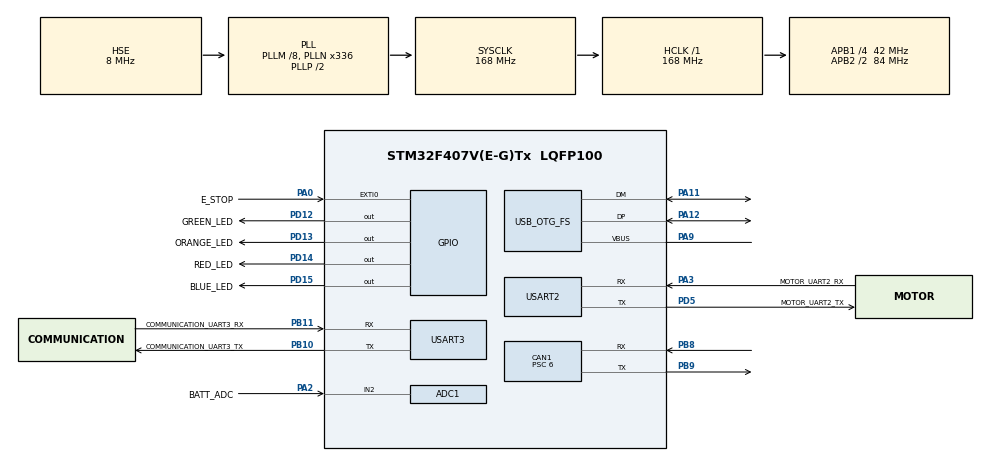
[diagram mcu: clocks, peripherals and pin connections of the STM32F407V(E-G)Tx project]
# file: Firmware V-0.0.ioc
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ADC1.Channel-0\#ChannelRegularConversion=ADC_CHANNEL_2
ADC1.ExternalTrigConv=ADC_EXTERNALTRIGCONV_T2_TRGO
ADC1.NbrOfConversionFlag=1
ADC1.Rank-0\#ChannelRegularConversion=1
ADC1.SamplingTime-0\#ChannelRegularConversion=ADC_SAMPLETIME_3CYCLES
ADC1.master=1
CAN1.BS1=CAN_BS1_11TQ
CAN1.BS2=CAN_BS2_2TQ
CAN1.CalculateBaudRate=500000
CAN1.CalculateTimeBit=2000
CAN1.CalculateTimeQuantum=142.85714285714286
CAN1.Prescaler=6
Dma.Request0=USART2_RX
Dma.USART2_RX.0.Direction=DMA_PERIPH_TO_MEMORY
Dma.USART2_RX.0.FIFOMode=DMA_FIFOMODE_DISABLE
Dma.USART2_RX.0.Instance=DMA1_Stream5
Dma.USART2_RX.0.MemDataAlignment=DMA_MDATAALIGN_BYTE
Dma.USART2_RX.0.MemInc=DMA_MINC_ENABLE
Dma.USART2_RX.0.Mode=DMA_NORMAL
Dma.USART2_RX.0.PeriphDataAlignment=DMA_PDATAALIGN_BYTE
Dma.USART2_RX.0.PeriphInc=DMA_PINC_DISABLE
Dma.USART2_RX.0.Priority=DMA_PRIORITY_LOW
Mcu.Family=STM32F4
Mcu.Name=STM32F407V(E-G)Tx
Mcu.Package=LQFP100
NVIC.ADC_IRQn=true\:0\:0\:false\:false\:true\:true\:true\:true
NVIC.CAN1_RX0_IRQn=true\:0\:0\:false\:false\:true\:true\:true\:true
NVIC.CAN1_RX1_IRQn=true\:0\:0\:false\:false\:true\:true\:true\:true
NVIC.CAN1_SCE_IRQn=true\:0\:0\:false\:false\:true\:true\:true\:true
NVIC.CAN1_TX_IRQn=true\:0\:0\:false\:false\:true\:true\:true\:true
NVIC.DMA1_Stream5_IRQn=true\:0\:0\:false\:false\:true\:false\:true\:true
NVIC.EXTI0_IRQn=true\:0\:0\:false\:false\:true\:true\:true\:true
NVIC.OTG_FS_IRQn=true\:0\:0\:false\:false\:true\:false\:true\:true
NVIC.PriorityGroup=NVIC_PRIORITYGROUP_0
NVIC.TIM1_BRK_TIM9_IRQn=true\:0\:0\:false\:false\:true\:true\:true\:true
NVIC.USART2_IRQn=true\:0\:0\:false\:false\:true\:true\:true\:true
PA0-WKUP.GPIO_Label=E_STOP
PA0-WKUP.Signal=GPXTI0
PA11.Mode=Device_Only
PA11.Signal=USB_OTG_FS_DM
PA12.Mode=Device_Only
PA12.Signal=USB_OTG_FS_DP
PA13.Mode=Trace_Synchro_1bit_SW
PA13.Signal=SYS_JTMS-SWDIO
PA14.Mode=Trace_Synchro_1bit_SW
PA14.Signal=SYS_JTCK-SWCLK
PA2.GPIO_Label=BATT_ADC
PA2.Signal=ADCx_IN2
PA3.GPIO_Label=MOTOR_UART2_RX
PA3.Mode=Asynchronous
PA3.Signal=USART2_RX
PA9.Mode=Activate_VBUS
PA9.Signal=USB_OTG_FS_VBUS
PB10.GPIO_Label=COMMUNICATION_UART3_TX
PB10.Mode=Asynchronous
PB10.Signal=USART3_TX
PB11.GPIO_Label=COMMUNICATION_UART3_RX
PB11.Mode=Asynchronous
PB11.Signal=USART3_RX
PB3.Signal=SYS_JTDO-SWO
PB8.Mode=CAN_Activate
PB8.Signal=CAN1_RX
PB9.Mode=CAN_Activate
PB9.Signal=CAN1_TX
PD12.GPIO_Label=GREEN_LED
PD12.Signal=GPIO_Output
PD13.GPIO_Label=ORANGE_LED
PD13.Signal=GPIO_Output
PD14.GPIO_Label=RED_LED
PD14.Signal=GPIO_Output
PD15.GPIO_Label=BLUE_LED
PD15.Signal=GPIO_Output
PD5.GPIO_Label=MOTOR_UART2_TX
PD5.Mode=Asynchronous
PD5.Signal=USART2_TX
PE2.Mode=Trace_Synchro_1bit_SW
PE2.Signal=SYS_TRACECLK
PE3.Mode=Trace_Synchro_1bit_SW
PE3.Signal=SYS_TRACED0
PH0-OSC_IN.Mode=HSE-External-Oscillator
PH0-OSC_IN.Signal=RCC_OSC_IN
PH1-OSC_OUT.Mode=HSE-External-Oscillator
PH1-OSC_OUT.Signal=RCC_OSC_OUT
ProjectManager.HeapSize=0x200
ProjectManager.StackSize=0x400
ProjectManager.TargetToolchain=STM32CubeIDE
RCC.48MHZClocksFreq_Value=48000000
RCC.AHBFreq_Value=168000000
RCC.APB1CLKDivider=RCC_HCLK_DIV4
RCC.APB1Freq_Value=42000000
RCC.APB1TimFreq_Value=84000000
RCC.APB2CLKDivider=RCC_HCLK_DIV2
RCC.APB2Freq_Value=84000000
RCC.APB2TimFreq_Value=168000000
RCC.CortexFreq_Value=168000000
RCC.HCLKFreq_Value=168000000
RCC.HSE_VALUE=8000000
RCC.HSI_VALUE=16000000
RCC.LSE_VALUE=32768
RCC.PLLM=8
RCC.PLLN=336
RCC.PLLQ=7
RCC.SYSCLKFreq_VALUE=168000000
RCC.SYSCLKSource=RCC_SYSCLKSOURCE_PLLCLK
RCC.VCOOutputFreq_Value=336000000
SH.ADCx_IN2.0=ADC1_IN2,IN2
TIM2.Period=4999
TIM2.Prescaler=8399
TIM2.TIM_MasterOutputTrigger=TIM_TRGO_UPDATE
TIM3.Prescaler=83
TIM9.Period=9999
TIM9.Prescaler=167
USART2.VirtualMode=VM_ASYNC
USART3.VirtualMode=VM_ASYNC
USB_DEVICE.CLASS_NAME_FS=CDC
USB_DEVICE.MANUFACTURER_STRING-CDC_FS=ROMDYNAMIC
USB_DEVICE.PID_CDC_FS=12345
USB_DEVICE.PRODUCT_STRING_CDC_FS=ROBOTCOM
USB_DEVICE.VID-CDC_FS=12345
USB_DEVICE.VirtualMode-CDC_FS=Cdc
USB_DEVICE.VirtualModeFS=Cdc_FS
USB_OTG_FS.VirtualMode=Device_Only
VP_TIM2_VS_ClockSourceINT.Mode=Internal
VP_TIM3_VS_ClockSourceINT.Mode=Internal
VP_TIM9_VS_ClockSourceINT.Mode=Internal
VP_USB_DEVICE_VS_USB_DEVICE_CDC_FS.Mode=CDC_FS
board=STM32F407G-DISC1

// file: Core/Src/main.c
/* USER CODE BEGIN Header */
/*
 * rom_communication.h
 *
 *  Created on: Aug 3, 2023
 *      Author: Pyae Soan Aung
 */
/* Macros --------------------------------------------------------------------*/
/* ဒီထဲက COMMUNICATION နည်း လမ်း ၃ခုထဲက တစ်ခု ကို ရွေးပါ။ */
//#define COMMUNICATION_METHOD_WIFI
//#define COMMUNICATION_METHOD_UART
#define COMMUNICATION_METHOD_USB

/* ဒီထဲက Motor Driver COMMUNICATION နည်း လမ်း ၂ ခုထဲက တစ်ခု ကို ရွေးပါ။ */
//#define MOTOR_DRIVER_UART
#define MOTOR_DRIVER_CAN

/* CAN အတွက် */
//#define USE_PDO 1
#define CAN_DEBUG 1

/* Serial Wire Viewer အတွက် */
#define ROM_SWV_DEBUG

/* USER CODE END Header */
#include "main.h"
#include "adc.h"
#include "can.h"
#include "dma.h"
#include "tim.h"
#include "usart.h"
#include "usb_device.h"
#include "gpio.h"

/* USER CODE BEGIN Includes */
#include "usbd_cdc_if.h"
#include <string.h>
#include "ROM_VARIABLES.h"
#include "ROM_LSDB4830_CAFC.h"

#ifdef COMMUNICATION_METHOD_USB
	#include "usbd_cdc_if.h"
#elif defined(COMMUNICATION_METHOD_UART)
	#define UART_DEBUG
	#define UART_RX_BUFFER_SIZE 42
	uint8_t uart3_rx_data[UART_RX_BUFFER_SIZE];
	uint8_t _data[UART_RX_BUFFER_SIZE];
#endif

#include "rom_communication.h"
struct ROM_COMMUNICATION receive_data = {0};
struct ROM_COMMUNICATION transmit_data = {0};
struct e1234567_status e_leds_status = {0};
/* USER CODE END Includes */

/* USER CODE BEGIN PM */
// 	CAN ERROR = BLUE LED
/* USER CODE END PM */

/* USER CODE BEGIN PV */

/* 10Hz, 50Hz, 100Hz သုံးမျိုး သုံးလို့ ရပါတယ်။ */
int main_loop_Hz = 10; // 10Hz

/* USER CODE END PV */

void SystemClock_Config(void);
/* USER CODE BEGIN PFP */
#ifdef ROM_SWV_DEBUG
	int _write(int file, char *ptr, int len)
	{
	  (void)file;
	  int DataIdx;

	  for (DataIdx = 0; DataIdx < len; DataIdx++)
	  {
		ITM_SendChar(*ptr++);
	  }
	  return len;
	}
	int fputc(int ch, FILE *f) {
		ITM_SendChar(ch);
		return ch;
	}
#endif

void estop(void){};
void led(void){};
void volt_ampere(void){};
void structure_update(void)
{
	// data သည် CAN BUS က လာမယ်။
	//transmit_data.right_actual_rpm = right_actual_rpm;
	//transmit_data.left_actual_rpm  = left_actual_rpm;
	//transmit_data.right_actual_rpm = right_desire_rpm;
	//transmit_data.left_actual_rpm  = left_desire_rpm;
	transmit_data.right_actual_rpm = 0;
	transmit_data.left_actual_rpm  = 0;

	// data သည် CAN BUS က လာမယ်။
	transmit_data.right_encoder_count = right_actual_position;
	transmit_data.left_encoder_count = left_actual_position;
	transmit_data.right_encoder_count = 999;
	transmit_data.left_encoder_count = 0;

	/* No Need to update desire rpms,
	because it is decoded and implemented in USB_RECEIVE_CALLBACK() */
	//transmit_data.right_desire_rpm = right_desire_rpm;
	//transmit_data.left_desire_rpm  = left_desire_rpm;

	transmit_data.free = 0;

//	uint8_t lower_byte =
//	(uint8_t)(e_leds_status.estop_status << 7 ) +
//	(uint8_t)(e_leds_status.led1_status  << 6 ) +
//	(uint8_t)(e_leds_status.led1_status  << 5 ) +
//	(uint8_t)(e_leds_status.led1_status  << 4 ) +
//	(uint8_t)(e_leds_status.led1_status  << 3 ) +
//	(uint8_t)(e_leds_status.led1_status  << 2 ) +
//	(uint8_t)(e_leds_status.led1_status  << 1 ) +
//	(uint8_t)(e_leds_status.led1_status  << 0 );

	transmit_data.e1234567 = 0; //lower_byte;

	transmit_data.volt = 0;		// 1B
	transmit_data.ampere = -3.1415;  // 4B
};
void ROM_variables_init(void)
{
	speed_limit = 50;

	/*for(int x = 0; x<100 ; x++)
	{
		usb_tx_buf[x] = 0;
		//usb_rx_buf[x] = 0;
	} */

	right_actual_rpm = 0;
	left_actual_rpm = 0;

	right_actual_position = 0; // rec
	left_actual_position  = 0;// lec

	right_desire_rpm = 0;
	left_desire_rpm = 0;

	transmit_data.free = 0;
	transmit_data.e1234567 = 0;

	transmit_data.volt = 0;
	transmit_data.ampere = 0;
}

#ifdef MOTOR_DRIVER_CAN
	void HAL_CAN_RxFifo0MsgPendingCallback(CAN_HandleTypeDef *hcan)
{ /* Right */
	HAL_CAN_GetRxMessage(hcan, CAN_RX_FIFO0, &rxHeader, CAN_rxData);

	if( rxHeader.StdId == 0x181)
	{
		#ifdef USE_PDO
		int32_t tmp_rpm = CAN_rxData[3] << 24;
		tmp_rpm = tmp_rpm + (CAN_rxData[2] << 16);
		tmp_rpm = tmp_rpm + (CAN_rxData[1] << 8 );
		tmp_rpm = tmp_rpm + (CAN_rxData[0] << 0); // read page 17-----------------------------
		right_actual_rpm = tmp_rpm/1000;

		int32_t temp_pos = CAN_rxData[7] << 24;
		temp_pos = temp_pos + (CAN_rxData[6] << 16);
		temp_pos = temp_pos + (CAN_rxData[5] << 8 );
		temp_pos = temp_pos+ (CAN_rxData[4] << 0);
		right_actual_position = temp_pos;
		#endif
	}

	else {

		/* 0x581 Success */
		if( CAN_rxData[0] == RECEIVE_SUCCESS )
		{
			#ifdef CAN_DEBUG
			HAL_GPIO_TogglePin(ORANGE_LED_GPIO_Port, ORANGE_LED_Pin);
			#endif
			//printf("MOTOR DRIVER RESPONSE : OK!\r\n");

		}

		/* Manually get RPM */
		#ifndef USE_PDO
		else if ( CAN_rxData[0] == RECEIVE_TWO_BYTE )
		{
			if( CAN_rxData[1]==ACTUAL_SPEED_RPM_1Byte && CAN_rxData[2]==ACTUAL_SPEED_RPM_2Byte && CAN_rxData[3]==ACTUAL_SPEED_RPM_3Byte )
			{
				int16_t temp = (  CAN_rxData[5]<<8 ) + (CAN_rxData[4]<<0);
				right_actual_rpm = temp;

				//Trigger for Left Actual
				#ifdef CAN_DEBUG
				HAL_GPIO_TogglePin(GREEN_LED_GPIO_Port, GREEN_LED_Pin);
				#endif
				getActualRpmLeft(&hcan1);
			}
		}
		#endif
		/* Error */
		else if ( CAN_rxData[0] == RECEIVE_ERROR )
		{
			CAN_Error_Handler();
			//printf("MOTOR DRIVER RESPONSE : Error!\r\n");
		}
	}
}
	void HAL_CAN_RxFifo1MsgPendingCallback(CAN_HandleTypeDef *hcan)
{ /* Left */
	HAL_CAN_GetRxMessage(hcan, CAN_RX_FIFO1, &rxHeader, CAN_rxData);

	if( rxHeader.StdId == 0x182)
	{
		#ifdef USE_PDO
		int32_t tmp_rpm = CAN_rxData[3] << 24;
		tmp_rpm = tmp_rpm + (CAN_rxData[2] << 16);
		tmp_rpm = tmp_rpm + (CAN_rxData[1] << 8 );
		tmp_rpm = tmp_rpm + (CAN_rxData[0] << 0); // read page 17-----------------------------
		left_actual_rpm = (tmp_rpm/1000)*-1;

		int32_t temp_pos = CAN_rxData[7] << 24;
		temp_pos = temp_pos + (CAN_rxData[6] << 16);
		temp_pos = temp_pos + (CAN_rxData[5] << 8 );
		temp_pos = temp_pos+ (CAN_rxData[4] << 0);
		left_actual_position = temp_pos * -1;
		#endif
	}

	else {
		/* Success */
		if( CAN_rxData[0] == RECEIVE_SUCCESS )
		{
			#ifdef CAN_DEBUG
			HAL_GPIO_TogglePin(ORANGE_LED_GPIO_Port, ORANGE_LED_Pin);
			#endif
			//printf("MOTOR DRIVER RESPONSE : OK!\r\n");

		}

		/* Manually get RPM */
		#ifndef USE_PDO
		else if ( CAN_rxData[0] == RECEIVE_TWO_BYTE )
		{
			if( CAN_rxData[1]==ACTUAL_SPEED_RPM_1Byte && CAN_rxData[2]==ACTUAL_SPEED_RPM_2Byte && CAN_rxData[3]==ACTUAL_SPEED_RPM_3Byte )
			{
				int16_t temp = (  CAN_rxData[5]<<8 ) + (CAN_rxData[4]<<0);
				left_actual_rpm = temp * -1;
			}
		}
		#endif
		/* Error */
		else if ( CAN_rxData[0] == RECEIVE_ERROR )
		{
			CAN_Error_Handler();
			//printf("MOTOR DRIVER RESPONSE : Error!\r\n");
		}

	}

}
#endif

#ifdef COMMUNICATION_METHOD_USB
	void USB_RECEIVE_CALLBACK(uint8_t *buf, uint32_t len)
{    /* assume 30 Bytes */
	// update right_desire_rpm, left_desire_rpm and estop_leds
	//decodeBuffer( buf, &receive_data);
	char * buffer = (char *) buf;
	char *pend; char *pend1; char *pend2; char *pend3;char *pend4;
	char *pend5; char *pend6; char *pend7;char *pend8;char *pend9;

		int16_t rar =  strtol(buffer, &pend, 10);
		int16_t lar =  strtol(pend , &pend1, 10);
		int32_t rec =  strtol(pend1, &pend2, 10);
		int32_t lec =  strtol(pend2, &pend3, 10);
		int16_t rdr =  strtol(pend3, &pend4, 10);
		int16_t ldr =  strtol(pend4, &pend5, 10);
		int16_t free=  strtol(pend5, &pend6, 10);
		int16_t e123=  strtol(pend6, &pend7, 10);
		int16_t volt= (strtol(pend7, &pend8, 10)); //  & 0xff;
		float  amp  =  strtof(pend8, &pend9);
		int8_t checksum=(strtol(pend9, NULL, 10)) & 0xff;  //

/* YOU SHOULD CKECK CHECKSUM && SHOULD UPDATE STRUCTURE ( LEDs ... ) */
	if( ((rdr+ldr)&0xff) != checksum)
	{
		right_desire_rpm = 0;
		left_desire_rpm = 0;
		#ifdef ROM_SWV_DEBUG
			printf("checksum mismatch Error!");
		#endif
		return;
	}
	right_desire_rpm = rdr;
	left_desire_rpm  = ldr;

	#ifdef ROM_SWV_DEBUG
		//printf("%s\r\n", buf);
		//printf("rar: %d\r\n", receive_data.right_actual_rpm);
		//printf("lar: %d\r\n", receive_data.left_actual_rpm);
		//printf("rec: %ld\r\n", receive_data.right_encoder_count);
		//printf("lec: %ld\r\n", receive_data.left_encoder_count);
		printf(" rdr : %d\r\n", rdr);
		printf(" ldr : %d\r\n", ldr);
		//printf("free: %d\r\n", receive_data.free);
		//printf("e123: %d\r\n", receive_data.e1234567);
		//printf("volt: %d\r\n", receive_data.volt);
		//printf("ampere: %d\r\n", (int)receive_data.ampere);
		printf(" checksum: %d\r\n", checksum);

	#endif
}
	void __ROM_USB_TRANSMIT(void)
{
	//calculate_crc
	encodeBuffer(&transmit_data.right_actual_rpm, &transmit_data.left_actual_rpm,
			&transmit_data.right_encoder_count, &transmit_data.left_encoder_count,
			&transmit_data.free, &transmit_data.e1234567,
			&transmit_data.volt, &transmit_data.ampere,
			transmit_data.buffer );

    CDC_Transmit_FS(transmit_data.buffer, 26);
}
#elif defined(COMMUNICATION_METHOD_UART)
	void __ROM_UART3_TRANSMIT(void)
{
	//calculate_crc
	encodeBuffer(&transmit_data.right_actual_rpm, &transmit_data.left_actual_rpm,
			&transmit_data.right_encoder_count, &transmit_data.left_encoder_count,
			&transmit_data.free, &transmit_data.e1234567,
			&transmit_data.volt, &transmit_data.ampere,
			transmit_data.buffer );

	//HAL_UART_Transmit_IT(p_huart2,uart2_tx_data, 10);
	HAL_UART_Transmit_IT(&huart3,transmit_data.buffer, 26);

	#ifdef UART_DEBUG
		HAL_GPIO_TogglePin(GREEN_LED_GPIO_Port,GREEN_LED_Pin);
	#endif
}
	// Function to Receive UART3 Data
	/*void HAL_UART_RxCpltCallback(UART_HandleTypeDef *huart)
{
	// _data to zero
	memset(_data, 0, sizeof(_data));

	// usb မှာလိုပဲ transmit လုပ်ရင် string of byte array နဲ့ ပို့ပြီး
	// receive လုပ်တဲ့ အခါ string of char array ဖြစ်ပါတယ်။
	memcpy(_data, uart3_rx_data, UART_RX_BUFFER_SIZE*8);
	//char * buffer = (char *) buf;
		char *pend; char *pend1; char *pend2; char *pend3;char *pend4;
		char *pend5; char *pend6; char *pend7;char *pend8;char *pend9;

	// string or not
	int16_t rar =  strtol(_data, &pend, 10);
	int16_t lar =  strtol(pend , &pend1, 10);
	int32_t rec =  strtol(pend1, &pend2, 10);
	int32_t lec =  strtol(pend2, &pend3, 10);
	int16_t rdr =  strtol(pend3, &pend4, 10);
	int16_t ldr =  strtol(pend4, &pend5, 10);
	int16_t free=  strtol(pend5, &pend6, 10);
	int16_t e123=  strtol(pend6, &pend7, 10);
	int16_t volt= (strtol(pend7, &pend8, 10)); //  & 0xff;
	float  amp  =  strtof(pend8, &pend9);
	int8_t checksum=(strtol(pend9, NULL, 10)) & 0xff;  //

		// if _data[0] == 601
		checkByteRight(_data);
		right_actual_rpm = (array_[7]<<8)+array_[8];

	HAL_UART_Receive_DMA(huart, uart3_rx_data, 26);

	#ifdef UART_DEBUG
		HAL_GPIO_TogglePin(GREEN_LED_GPIO_Port,GREEN_LED_Pin);
	#endif

	return;
}*/
	void ROM_UART3_Error_Handler(void);
#endif
/* USER CODE END PFP */

int main(void)
{

  /* MCU Configuration--------------------------------------------------------*/

  /* Reset of all peripherals, Initializes the Flash interface and the Systick. */
  HAL_Init();

  /* USER CODE BEGIN Init */
  // variables တွေကို 0 နဲ့ assign လုပ်တယ်။
  ROM_variables_init();

  /* USER CODE END Init */

  /* Configure the system clock */
  SystemClock_Config();

  /* Initialize all configured peripherals */

  /*GREEN(PD12) ORANGE(PD12) RED(PD12) BLUE(PD12) Led pins များကို output push pull,
  no pull up assign လုပ်တယ်။ အဲ့ကောင် တွေ ကို Debug လုပ်ဖို့ သုံးပါတယ်။
  Estop pin(PA0) ကို Externel interrupt Line 0 မှာ ချိတ်တယ်။ */
  MX_GPIO_Init();

  // UART2 MOTOR DRIVER RX အတွက်
  MX_DMA_Init();

  // TIM9 ကို counter mode အဖြစ် သုံးထားတယ်။ သူ့ ကို main loop အဖြစ် သုံးမယ်။
  MX_TIM9_Init();

  // PA2 မှာ Battery voltage တိုင်းဖို့ အတွက် IN2 သုံးထားတယ်။ Interrupt သုံးထားတယ်။ ADC ကို Timer2 နဲ့ trigger လုပ်မယ်။
  MX_ADC1_Init();

  MX_CAN1_Init();

  // ADC ကို Trigger ပစ် ဖို့ ဖြစ်ပါတယ်။  APB1 bus ပေါ် က timer 2 ကို 1 second တခါ timer trigger output ပစ်ပါတယ်။
  MX_TIM2_Init();

   #ifdef COMMUNICATION_METHOD_USB
    // usb connection လုပ်ဖို့ အတွက် ဖြစ်တယ်။
    MX_USB_DEVICE_Init();
   #endif

  // timer 3 ကို 1us နဲ့ 65535 အမြင့် ဆုံး count ထားထားတယ်။ delay ဆောက် ဖို့ ဖြစ်တယ်။
  // timer.c မှာ delay_us() နဲ့ micro second ထည့်ပြီး အသုံးပြု နိုင်ပါသည်။
  MX_TIM3_Init();

  // MOTOR DRIVER အတွက်
	#ifdef MOTOR_DRIVER_UART
  	  MX_USART2_UART_Init();
	#endif

  // COMMUNICATION
	#ifdef COMMUNICATION_METHOD_UART
  	  MX_USART3_UART_Init();
  /* USER CODE BEGIN 2 */
	#endif

  // delay ဆောက် ဖို့ အတွက် timer ကို interrupt mode ကို စတင်ပေး တယ်။
  HAL_TIM_Base_Start(&htim3);

  // CAN Motor Driver အတွက် လိုအပ်သည် များ ပြင်ဆင်ရန် data sheet ဖတ်ပါ။
	#ifdef MOTOR_DRIVER_CAN
  	  ___ROM_LSDB_PREPARE(&hcan1);
	#endif
  // main loop အတွက် timer ကို interrupt mode ကို စတင်ပေး တယ်။
  // TIM1_BRK_TIM9_IRQHandler() ကို ( 10ms(100Hz) | 50ms(20Hz) | 100ms(10Hz) ခေါ် ပါမယ်။
  HAL_TIM_Base_Start_IT(&htim9);

  //
  //HAL_UART_Receive_DMA(&huart3, uart3_rx_data, 42);

  /* USER CODE END 2 */

  /* Infinite loop */
  /* USER CODE BEGIN WHILE */
  while (1)
  {
	#ifdef ROM_SWV_DEBUG
	  //printf("Hello world\r\n");
	  //printf("%d\r\n", 100);
	  //printf("%.2f", 3.1415);
	  //HAL_Delay(1000);
	#endif
    /* USER CODE END WHILE */

  }
}

void SystemClock_Config(void)
{
  RCC_OscInitTypeDef RCC_OscInitStruct = {0};
  RCC_ClkInitTypeDef RCC_ClkInitStruct = {0};

  /** Configure the main internal regulator output voltage
  */
  __HAL_RCC_PWR_CLK_ENABLE();
  __HAL_PWR_VOLTAGESCALING_CONFIG(PWR_REGULATOR_VOLTAGE_SCALE1);

  /** Initializes the RCC Oscillators according to the specified parameters
  * in the RCC_OscInitTypeDef structure.
  */
  RCC_OscInitStruct.OscillatorType = RCC_OSCILLATORTYPE_HSE;
  RCC_OscInitStruct.HSEState = RCC_HSE_ON;
  RCC_OscInitStruct.PLL.PLLState = RCC_PLL_ON;
  RCC_OscInitStruct.PLL.PLLSource = RCC_PLLSOURCE_HSE;
  RCC_OscInitStruct.PLL.PLLM = 8;
  RCC_OscInitStruct.PLL.PLLN = 336;
  RCC_OscInitStruct.PLL.PLLP = RCC_PLLP_DIV2;
  RCC_OscInitStruct.PLL.PLLQ = 7;
  if (HAL_RCC_OscConfig(&RCC_OscInitStruct) != HAL_OK)
  {
    Error_Handler();
  }

  /** Initializes the CPU, AHB and APB buses clocks
  */
  RCC_ClkInitStruct.ClockType = RCC_CLOCKTYPE_HCLK|RCC_CLOCKTYPE_SYSCLK
                              |RCC_CLOCKTYPE_PCLK1|RCC_CLOCKTYPE_PCLK2;
  RCC_ClkInitStruct.SYSCLKSource = RCC_SYSCLKSOURCE_PLLCLK;
  RCC_ClkInitStruct.AHBCLKDivider = RCC_SYSCLK_DIV1;
  RCC_ClkInitStruct.APB1CLKDivider = RCC_HCLK_DIV4;
  RCC_ClkInitStruct.APB2CLKDivider = RCC_HCLK_DIV2;

  if (HAL_RCC_ClockConfig(&RCC_ClkInitStruct, FLASH_LATENCY_5) != HAL_OK)
  {
    Error_Handler();
  }
}

/* USER CODE BEGIN 4 */
void ROM_UART3_Error_Handler(void)
{
	/* Need to add Software EStop & Hardware Estop */

		#ifdef UART_DEBUG
		HAL_GPIO_WritePin(GPIOD, BLUE_LED_Pin | GREEN_LED_Pin |RED_LED_Pin | ORANGE_LED_Pin, GPIO_PIN_SET);

		#endif
}
void CAN_Error_Handler(void)
{
	// CAN ERROR ဖြစ် ရင် LED 4 လုံး TOGGLE ဖြစ် မယ်။
	// Need to add Software EStop & Hardware Estop
	clearMotors(&hcan1);
	disableMotors(&hcan1);

	while(1)
	{
		#ifdef CAN_DEBUG
		HAL_GPIO_WritePin(GPIOD, BLUE_LED_Pin | GREEN_LED_Pin |RED_LED_Pin | ORANGE_LED_Pin, GPIO_PIN_SET);
		HAL_Delay(500);
		HAL_GPIO_WritePin(GPIOD, BLUE_LED_Pin | GREEN_LED_Pin |RED_LED_Pin | ORANGE_LED_Pin, GPIO_PIN_RESET);
		HAL_Delay(500);
		#endif
	}
}

void TIM1_BRK_TIM9_IRQHandler(void)
{
	if(TIM9->SR & TIM_SR_UIF)
	{
		estop();
		led();
		volt_ampere();

		/* CAN BUS DEBUG LED AND RPM TESTING PURPOSE */
		counts++;
		if(counts > 50 )
		{   // ( 10 | 50 | 100 )ms * 50 တခါ led toggle ဖြစ် ဖို့ ပါ။
		    // 10Hz ဆိုရင် 5 second တခါ , 20Hz ဆိုရင် 2.5 second တခါ , 100Hz ဆိုရင် .5 second တခါ
		    // CAN BUS LED တွေ TOGGLE ဖြစ် ပါမယ်။
			#ifdef CAN_DEBUG
			HAL_GPIO_TogglePin(BLUE_LED_GPIO_Port, BLUE_LED_Pin);
			#endif

		counts = 0;
		}

		// PDO မသုံးဘူးဆိုရင် Rpm right ကို motor driver ဆီ request လုပ်မှာ ဖြစ် ပါတယ်။
		// FIFO0(Right) Line 133 မှာ right actual rpm ကို ရတဲ့ အခါ Left rpm ကို request ထပ်လုပ်ပါမယ်။
		#ifndef USE_PDO
			getActualRpmRight(&hcan1); // This will Trigger to Left
			//delay_us(200);
		#endif

		// rom_communicate structure ကို update လုပ်မယ်။
		structure_update();

		// ပြီးရင်တော့ desire rpm တွေကို request လုပ်ပါမယ်။
		#ifdef MOTOR_DRIVER_CAN
			setTargetVelocityRpmRight(&hcan1, right_desire_rpm);
			//delay_us(500);
			setTargetVelocityRpmLeft(&hcan1, left_desire_rpm);
			//delay_us(500);
		#endif
		#ifdef COMMUNICATION_METHOD_USB
			__ROM_USB_TRANSMIT();
		#elif defined(COMMUNICATION_METHOD_UART)
			__ROM_UART3_TRANSMIT();
		#endif

		// Flag clear
		TIM9->SR &= ~ TIM_SR_UIF;
	}
	// နောက်ထပ် update even အတွက်ပါ။
	HAL_TIM_IRQHandler(&htim9);
}

/* USER CODE END 4 */

void Error_Handler(void)
{
  /* USER CODE BEGIN Error_Handler_Debug */
  /* User can add his own implementation to report the HAL error return state */
	/* Need to add Software EStop & Hardware Estop */

	clearMotors(&hcan1);
	disableMotors(&hcan1);

	//EmergencyMode(&hcan1, EMERGENCY_STOP_DISABLE);

  __disable_irq();
  while (1)
  {
  }
  /* USER CODE END Error_Handler_Debug */
}
